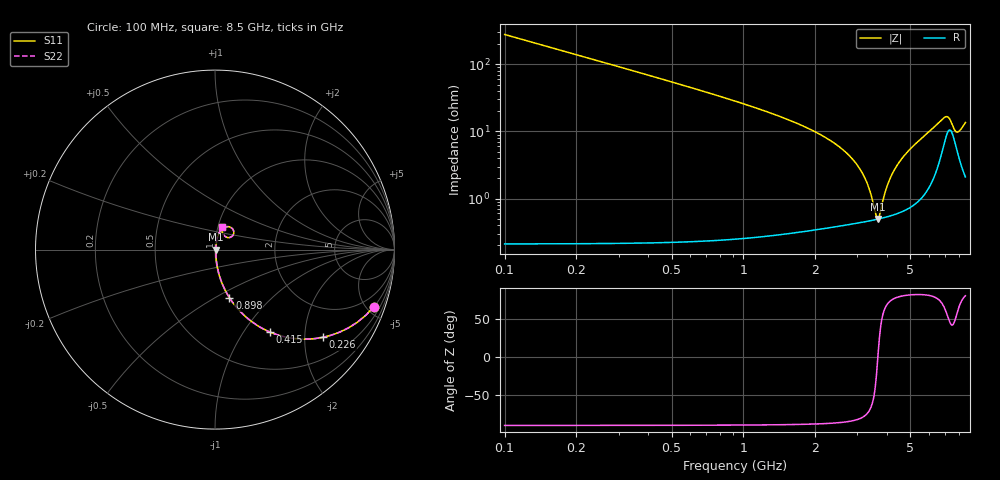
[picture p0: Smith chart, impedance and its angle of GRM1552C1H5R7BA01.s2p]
!Murata Part Number: GRM1552C1H5R7BA01
!These Parameters are Measured in Series Mode Connection
!Data Generated on Mar 30, 2021
!  o--ll--o
!Port1  Port2
!  o------o
!Operation Temp=25[degC], DC Bias Voltage=0[V]
!Freq. Start=100[MHz] Stop=9[GHz] 401[Steps]
# Hz S RI R 50
!Freq.(Hz) S11(Real) S11(Imag) S21(Real) S21(Imag) S12(Real) S12(Imag) S22(Real) S22(Imag)
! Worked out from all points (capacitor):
!   401 points, 100 MHz to 8.5 GHz, reference 50 ohm
!   read as one part in series: C = 5.7 pF near 142 MHz
!   lowest |Z| = 494 mohm at 3.649 GHz (marker M1)
!   series resonance near 3.655 GHz, so ESL is about 330 pH
!   S11 on the Smith chart (normalised r, x): 100 MHz: 1.00, -5.58; 226 MHz: 1.00, -2.46; 415 MHz: 1.00, -1.33; 898 MHz: 1.00, -0.58; 8.5 GHz: 1.04, +0.27
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1e8  0.886 -0.3175  0.114 0.3175  0.114 0.3175  0.886 -0.3175
2.26e8  0.6022 -0.4886  0.3978 0.4886  0.3978 0.4886  0.6022 -0.4886
3.1e8  0.4445 -0.4957  0.5555 0.4957  0.5555 0.4957  0.4445 -0.4957
4.15e8  0.3067 -0.4595  0.6933 0.4595  0.6933 0.4595  0.3067 -0.4595
6.04e8  0.1695 -0.3727  0.8305 0.3727  0.8305 0.3727  0.1695 -0.3727
8.98e8  0.0806 -0.2681  0.9194 0.2681  0.9194 0.2681  0.0806 -0.2681
1.507e9  0.026 -0.1498  0.974 0.1498  0.974 0.1498  0.026 -0.1498
2.41e9  0.00808 -0.0655  0.9919 0.0655  0.9919 0.0655  0.00808 -0.0655
2.914e9  0.00546 -0.0353  0.9945 0.0353  0.9945 0.0353  0.00546 -0.0353
3.292e9  0.00482 -0.0163  0.9952 0.0163  0.9952 0.0163  0.00482 -0.0163
3.418e9  0.00478 -0.0105  0.9952 0.0105  0.9952 0.0105  0.00478 -0.0105
3.586e9  0.00485 -0.00299  0.9952 0.00299  0.9952 0.00299  0.00485 -0.00299
3.649e9  0.00491 -0.000254  0.9951 0.000254  0.9951 0.000254  0.00491 -0.000254
3.712e9  0.00498 0.00245  0.995 -0.00245  0.995 -0.00245  0.00498 0.00245
3.985e9  0.00549 0.0138  0.9945 -0.0138  0.9945 -0.0138  0.00549 0.0138
4.3e9  0.00644 0.0264  0.9936 -0.0264  0.9936 -0.0264  0.00644 0.0264
4.846e9  0.00915 0.0475  0.9909 -0.0475  0.9909 -0.0475  0.00915 0.0475
5.707e9  0.018 0.082  0.982 -0.082  0.982 -0.082  0.018 0.082
6.736e9  0.0598 0.1266  0.9402 -0.1266  0.9402 -0.1266  0.0598 0.1266
7.114e9  0.0982 0.115  0.9018 -0.115  0.9018 -0.115  0.0982 0.115
7.807e9  0.0577 0.0725  0.9423 -0.0725  0.9423 -0.0725  0.0577 0.0725
8.5e9  0.0372 0.1267  0.9628 -0.1267  0.9628 -0.1267  0.0372 0.1267
